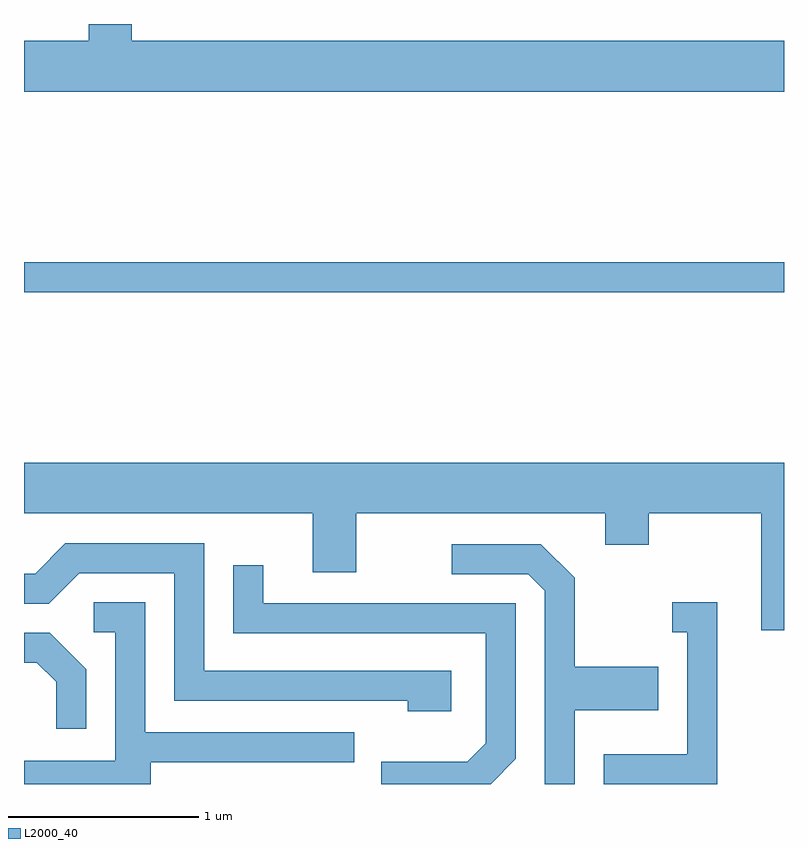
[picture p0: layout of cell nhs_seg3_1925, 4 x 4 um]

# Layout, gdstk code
import gdstk
lib = gdstk.Library(unit=1e-6, precision=1e-09)
def R(c, l, rs):  # rectangles x0, y0, x1, y1
    for r in rs: c.add(gdstk.rectangle(r[:2], r[2:], *l))
def P(c, l, *ps):  # polygons
    for p in ps: c.add(gdstk.Polygon(p, *l))
L2000_40 = (2000, 40)

nhs_seg3_1925 = lib.new_cell('nhs_seg3_1925')
R(nhs_seg3_1925, L2000_40, [(241.611,1160.481,245.611,1160.639)])
P(nhs_seg3_1925, L2000_40, [(245.611,1161.804),(242.179,1161.804),(242.179,1161.892),(241.951,1161.892),(241.951,1161.804),(241.611,1161.804),(241.611,1161.536),(245.611,1161.536)],
  [(245.611,1159.584),(241.611,1159.584),(241.611,1159.316),(243.131,1159.316),(243.131,1159.006),(243.359,1159.006),(243.359,1159.316),(244.671,1159.316),(244.671,1159.151),(244.899,1159.151),(244.899,1159.316),(245.491,1159.316),(245.491,1158.701),(245.611,1158.701)],
  [(243.859,1158.489),(242.559,1158.489),(242.559,1159.159),(241.829,1159.159),(241.669,1158.999),(241.611,1158.999),(241.611,1158.841),(241.742,1158.841),(241.902,1159.001),(242.401,1159.001),(242.401,1158.331),(243.631,1158.331),(243.631,1158.276),(243.859,1158.276)],
  [(244.509,1158.281),(244.949,1158.281),(244.949,1158.509),(244.509,1158.509),(244.509,1158.977),(244.332,1159.154),(243.863,1159.154),(243.863,1158.996),(244.264,1158.996),(244.351,1158.909),(244.351,1157.892),(244.509,1157.892)],
  [(244.199,1158.024),(244.199,1158.844),(242.869,1158.844),(242.869,1159.043),(242.711,1159.043),(242.711,1158.686),(244.041,1158.686),(244.041,1158.107),(243.944,1158.009),(243.491,1158.009),(243.491,1157.892),(244.068,1157.892)],
  [(242.279,1158.006),(243.348,1158.006),(243.348,1158.164),(242.249,1158.164),(242.249,1158.849),(241.978,1158.849),(241.978,1158.691),(242.091,1158.691),(242.091,1158.014),(241.611,1158.014),(241.611,1157.892),(242.279,1157.892)],
  [(245.259,1158.849),(245.023,1158.849),(245.023,1158.691),(245.101,1158.691),(245.101,1158.049),(244.661,1158.049),(244.661,1157.892),(245.259,1157.892)],
  [(241.939,1158.497),(241.747,1158.689),(241.611,1158.689),(241.611,1158.531),(241.679,1158.531),(241.781,1158.429),(241.781,1158.183),(241.939,1158.183)])

lib.write_gds('nhs_seg3_1925.gds')
